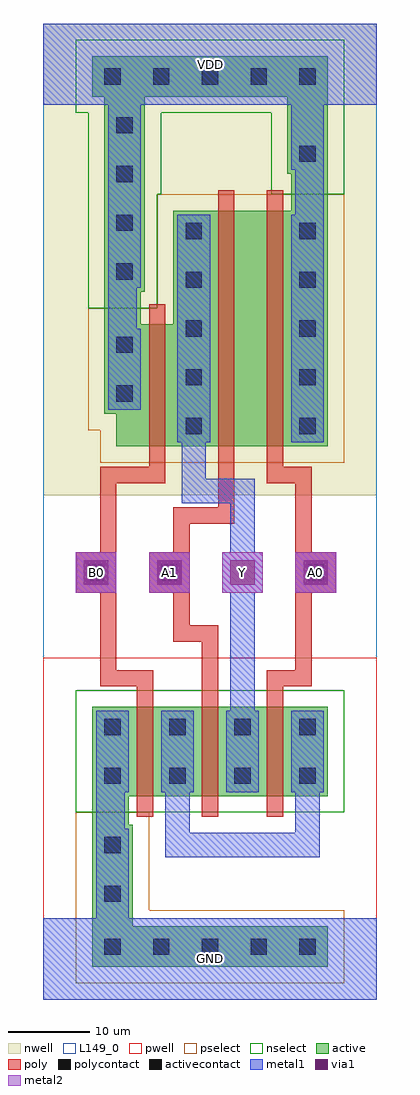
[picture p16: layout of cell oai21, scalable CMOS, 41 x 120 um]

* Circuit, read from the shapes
.subckt oai21 A0 A1 B0 GND VDD Y
M1 n1 B0 GND GND nfet w=11u l=2u
M2 Y A1 n1 GND nfet w=11u l=2u
M3 n1 A0 Y GND nfet w=11u l=2u
M4 Y B0 VDD VDD pfet w=15u l=2u
M5 n2 A1 Y VDD pfet w=29u l=2u
M6 VDD A0 n2 VDD pfet w=29u l=2u
.ends

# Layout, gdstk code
import gdstk
lib = gdstk.Library(unit=1e-6, precision=1e-09)
def R(c, l, rs):  # rectangles x0, y0, x1, y1
    for r in rs: c.add(gdstk.rectangle(r[:2], r[2:], *l))
def A(c, l, x, y, w, h, nx, ny, dx, dy):  # array of equal rectangles
    R(c, l, [(x+i*dx, y+j*dy, x+i*dx+w, y+j*dy+h) for i in range(nx) for j in range(ny)])
def P(c, l, *ps):  # polygons
    for p in ps: c.add(gdstk.Polygon(p, *l))
pwell = (41, 0)
nwell = (42, 0)
active = (43, 0)
pselect = (44, 0)
nselect = (45, 0)
poly = (46, 0)
polycontact = (47, 0)
activecontact = (48, 0)
metal1 = (49, 0)
via1 = (50, 0)
metal2 = (51, 0)
L149_0 = (149, 0)

via = lib.new_cell('via')
R(via, metal1, [(-2.5,-2.5,2.5,2.5)])
R(via, via1, [(-1.5,-1.5,1.5,1.5)])
R(via, metal2, [(-2.5,-2.5,2.5,2.5)])

oai21 = lib.new_cell('oai21')
R(oai21, pwell, [(0,0,41,42), (0,19,41,42)])
R(oai21, nwell, [(0,62,41,120)])
P(oai21, nwell, [(3,62),(3,66),(1.5,66),(1.5,89),(10,89),(10,103),(41,103),(41,62)])
R(oai21, active, [(6,4,35,9), (6,9,11,21.5), (6,21.5,10.5,25), (6,25,11.5,36), (6,25,35,36), (29.5,25,35,36), (29.5,68,35,97), (7.5,83,12,87), (7.5,87,12.5,111), (30.5,97,35,101.5), (30,101.5,35,111), (6,111,35,116)])
P(oai21, active, [(9,68),(9,72),(7.5,72),(7.5,83),(16,83),(16,97),(35,97),(35,68)],
  [(9,68),(9,72),(7.5,72),(7.5,83),(13,83),(13,68)])
R(oai21, pselect, [(4,2,37,11), (4,11,13,23)])
P(oai21, pselect, [(7,66),(7,70),(5.5,70),(5.5,85),(14,85),(14,99),(37,99),(37,66)])
R(oai21, nselect, [(4,23,37,38), (28,99,37,109), (4,109,37,118)])
P(oai21, nselect, [(5.5,85),(14,85),(14,99),(14.5,99),(14.5,109),(5.5,109)])
A(oai21, poly, 11.5, 22.5, 2, 2.5, 3, 2, 8, 13.5)
A(oai21, poly, 11.5, 25, 2, 11, 3, 1, 8, 0)
R(oai21, poly, [(4,50,9,55), (13,50,18,55), (31,50,36,55), (13,65.5,15,68), (21.5,65.5,23.5,68), (27.5,65.5,29.5,68), (13,68,15,83), (21.5,68,23.5,97), (27.5,68,29.5,97), (13,83,15,85.5), (21.5,97,23.5,99.5), (27.5,97,29.5,99.5)])
R(oai21, polycontact, [(5.5,51.5,7.5,53.5), (14.5,51.5,16.5,53.5), (32.5,51.5,34.5,53.5)])
A(oai21, activecontact, 7.5, 5.5, 2, 2, 5, 2, 6, 107)
A(oai21, activecontact, 7.5, 26.5, 2, 2, 4, 2, 8, 6)
A(oai21, activecontact, 17.5, 69.5, 2, 2, 1, 5, 0, 6)
A(oai21, activecontact, 31.5, 69.5, 2, 2, 1, 5, 0, 6)
A(oai21, activecontact, 9, 88.5, 2, 2, 1, 4, 0, 6)
R(oai21, activecontact, [(7.5,12,9.5,14), (7.5,18,9.5,20), (9,73.5,11,75.5), (9,79.5,11,81.5), (31.5,103,33.5,105)])
A(oai21, metal1, 6.5, 25.5, 4, 10, 4, 1, 8, 0)
R(oai21, metal1, [(0,0,41,10), (6.5,10,10.5,21), (6.5,21,10,25.5), (4.5,50.5,8.5,54.5), (13.5,50.5,17.5,54.5), (31.5,50.5,35.5,54.5), (16.5,68.5,20.5,96.5), (30.5,68.5,34.5,96.5), (8,72.5,12,82.5), (8,82.5,11.5,87.5), (8,87.5,12,110), (31,96.5,34.5,102), (30.5,102,34.5,110), (0,110,41,120)])
A(oai21, metal2, 4, 50, 5, 5, 4, 1, 9, 0)
R(oai21, L149_0, [(0,0,41,120)])
oai21.add(gdstk.FlexPath([(15,64.5),(8,64.5),(8,55)], 2, ends="flush", simple_path=True, layer=46, datatype=0))  # poly
oai21.add(gdstk.FlexPath([(27.5,64.5),(32,64.5),(32,55)], 2, ends="flush", simple_path=True, layer=46, datatype=0))  # poly
oai21.add(gdstk.FlexPath([(17,55),(17,59.5),(22.5,59.5),(22.5,65.5)], 2, ends="flush", simple_path=True, layer=46, datatype=0))  # poly
oai21.add(gdstk.FlexPath([(27.5,39.5),(32,39.5),(32,50)], 2, ends="flush", simple_path=True, layer=46, datatype=0))  # poly
oai21.add(gdstk.FlexPath([(13.5,39.5),(8,39.5),(8,50)], 2, ends="flush", simple_path=True, layer=46, datatype=0))  # poly
oai21.add(gdstk.FlexPath([(17,50),(17,45),(20.5,45),(20.5,38.5)], 2, ends="flush", simple_path=True, layer=46, datatype=0))  # poly
oai21.add(gdstk.FlexPath([(24.5,35.5),(24.5,50)], 3, ends="flush", simple_path=True, layer=49, datatype=0))  # metal1
oai21.add(gdstk.FlexPath([(16.5,25.5),(16.5,19),(32.5,19),(32.5,25.5)], 3, ends="flush", simple_path=True, layer=49, datatype=0))  # metal1
oai21.add(gdstk.FlexPath([(24.5,55),(24.5,62.5),(18.5,62.5),(18.5,68.5)], 3, ends="flush", simple_path=True, layer=49, datatype=0))  # metal1
oai21.add(gdstk.Reference(via, (15.5,52.5)))
oai21.add(gdstk.Reference(via, (24.5,52.5)))
oai21.add(gdstk.Reference(via, (33.5,52.5)))
oai21.add(gdstk.Reference(via, (6.5,52.5)))
oai21.add(gdstk.Label('GND', (20.5,5), layer=2, texttype=0))
oai21.add(gdstk.Label('VDD', (20.5,115), layer=2, texttype=0))
oai21.add(gdstk.Label('A0', (33.5,52.5), layer=3, texttype=0))
oai21.add(gdstk.Label('A1', (15.5,52.5), layer=3, texttype=0))
oai21.add(gdstk.Label('Y', (24.5,52.5), layer=3, texttype=0))
oai21.add(gdstk.Label('B0', (6.5,52.5), layer=3, texttype=0))
oai21.add(gdstk.Label('GND', (20.5,5), layer=2, texttype=0))
oai21.add(gdstk.Label('VDD', (20.5,115), layer=2, texttype=0))
oai21.add(gdstk.Label('A0', (33.5,52.5), layer=3, texttype=0))
oai21.add(gdstk.Label('A1', (15.5,52.5), layer=3, texttype=0))
oai21.add(gdstk.Label('Y', (24.5,52.5), layer=3, texttype=0))
oai21.add(gdstk.Label('B0', (6.5,52.5), layer=3, texttype=0))

lib.write_gds('oai21.gds')
